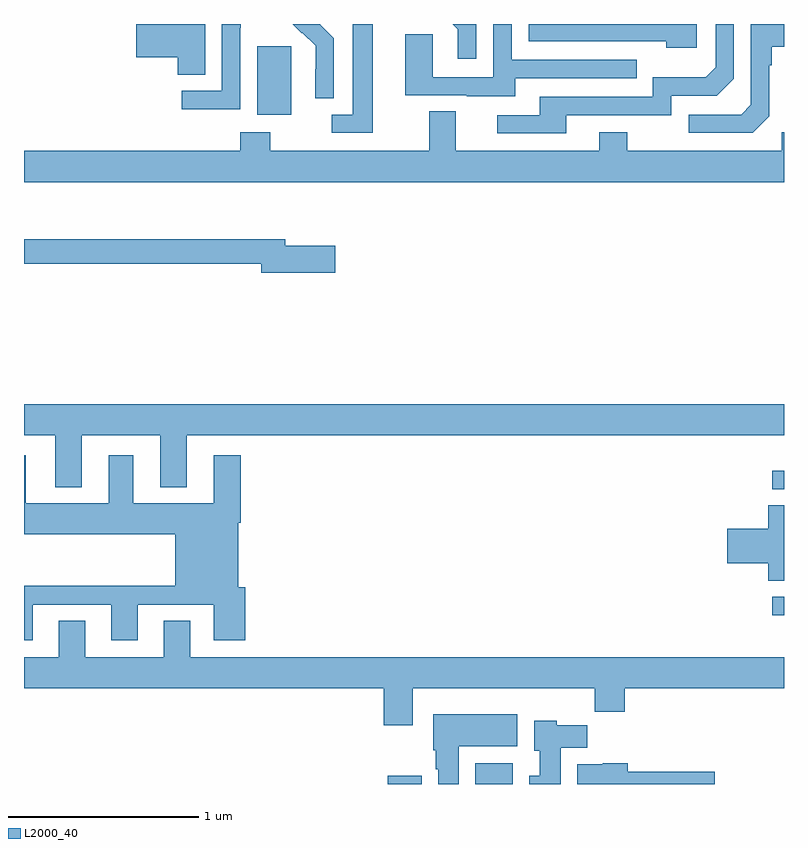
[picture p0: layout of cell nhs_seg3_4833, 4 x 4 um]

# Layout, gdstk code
import gdstk
lib = gdstk.Library(unit=1e-6, precision=1e-09)
def R(c, l, rs):  # rectangles x0, y0, x1, y1
    for r in rs: c.add(gdstk.rectangle(r[:2], r[2:], *l))
def P(c, l, *ps):  # polygons
    for p in ps: c.add(gdstk.Polygon(p, *l))
L2000_40 = (2000, 40)

nhs_seg3_4833 = lib.new_cell('nhs_seg3_4833')
R(nhs_seg3_4833, L2000_40, [(372.914,712.4,373.093,712.444), (373.376,712.4,373.573,712.51), (374.937,713.287,375,713.385), (374.937,713.952,375,714.048), (372.227,715.922,372.406,716.283)])
P(nhs_seg3_4833, L2000_40, [(374.922,715.914),(374.922,716.183),(374.935,716.183),(374.935,716.279),(375,716.279),(375,716.4),(374.826,716.4),(374.826,715.974),(374.775,715.923),(374.499,715.923),(374.499,715.827),(374.835,715.827)],
  [(374.542,716.4),(373.656,716.4),(373.656,716.31),(374.381,716.31),(374.381,716.276),(374.542,716.276)],
  [(372.63,716.326),(372.557,716.399),(372.558,716.4),(372.414,716.4),(372.462,716.352),(372.465,716.355),(372.536,716.285),(372.536,716.162),(372.534,716.162),(372.534,716.008),(372.63,716.008)],
  [(372.138,716.38),(372.141,716.38),(372.141,716.4),(372.042,716.4),(372.042,716.049),(371.829,716.049),(371.829,715.951),(372.138,715.951)],
  [(371.953,716.4),(371.592,716.4),(371.592,716.225),(371.81,716.225),(371.81,716.134),(371.953,716.134)],
  [(373.855,715.92),(374.406,715.92),(374.406,716.022),(374.646,716.022),(374.736,716.112),(374.736,716.4),(374.64,716.4),(374.64,716.172),(374.587,716.119),(374.31,716.119),(374.31,716.016),(373.715,716.016),(373.715,715.92),(373.491,715.92),(373.491,715.824),(373.855,715.824)],
  [(373.585,716.115),(374.225,716.115),(374.225,716.211),(373.566,716.211),(373.566,716.4),(373.47,716.4),(373.47,716.121),(373.152,716.121),(373.152,716.345),(373.007,716.345),(373.007,716.025),(373.331,716.025),(373.331,716.021),(373.585,716.021)],
  [(373.38,716.4),(373.256,716.4),(373.283,716.373),(373.283,716.217),(373.38,716.217)],
  [(372.835,716.4),(372.731,716.4),(372.731,715.923),(372.621,715.923),(372.621,715.827),(372.835,715.827)],
  [(375,715.831),(374.988,715.831),(374.988,715.732),(374.175,715.732),(374.175,715.831),(374.027,715.831),(374.027,715.732),(373.273,715.732),(373.273,715.94),(373.133,715.94),(373.133,715.732),(372.297,715.732),(372.297,715.831),(372.137,715.831),(372.137,715.732),(371,715.732),(371,715.568),(375,715.568)],
  [(372.637,715.233),(372.376,715.233),(372.376,715.267),(371,715.267),(371,715.138),(372.248,715.138),(372.248,715.091),(372.637,715.091)],
  [(371.305,714.236),(371.717,714.236),(371.717,713.963),(371.857,713.963),(371.857,714.236),(375,714.236),(375,714.4),(371,714.4),(371,714.236),(371.165,714.236),(371.165,713.963),(371.305,713.963)],
  [(371.047,713.343),(371.459,713.343),(371.459,713.157),(371.599,713.157),(371.599,713.343),(371.999,713.343),(371.999,713.157),(372.164,713.157),(372.164,713.436),(372.127,713.436),(372.127,713.774),(372.14,713.774),(372.14,714.13),(371.999,714.13),(371.999,713.878),(371.575,713.878),(371.575,714.13),(371.447,714.13),(371.447,713.878),(371.008,713.878),(371.008,714.13),(371,714.13),(371,713.714),(371.795,713.714),(371.795,713.444),(371,713.444),(371,713.157),(371.047,713.157)],
  [(375,713.867),(374.918,713.867),(374.918,713.744),(374.7,713.744),(374.7,713.561),(374.918,713.561),(374.918,713.47),(375,713.47)],
  [(373.045,712.904),(374.005,712.904),(374.005,712.78),(374.162,712.78),(374.162,712.904),(375,712.904),(375,713.068),(371.875,713.068),(371.875,713.258),(371.735,713.258),(371.735,713.068),(371.323,713.068),(371.323,713.258),(371.183,713.258),(371.183,713.068),(371,713.068),(371,712.904),(372.893,712.904),(372.893,712.71),(373.045,712.71)],
  [(373.288,712.598),(373.597,712.598),(373.597,712.768),(373.154,712.768),(373.154,712.578),(373.166,712.578),(373.166,712.478),(373.181,712.478),(373.181,712.4),(373.288,712.4)],
  [(373.825,712.592),(373.964,712.592),(373.964,712.71),(373.803,712.71),(373.803,712.732),(373.685,712.732),(373.685,712.574),(373.715,712.574),(373.715,712.444),(373.658,712.444),(373.658,712.4),(373.825,712.4)],
  [(374.635,712.464),(374.177,712.464),(374.177,712.51),(374.046,712.51),(374.046,712.504),(373.913,712.504),(373.913,712.4),(374.635,712.4)])

lib.write_gds('nhs_seg3_4833.gds')
